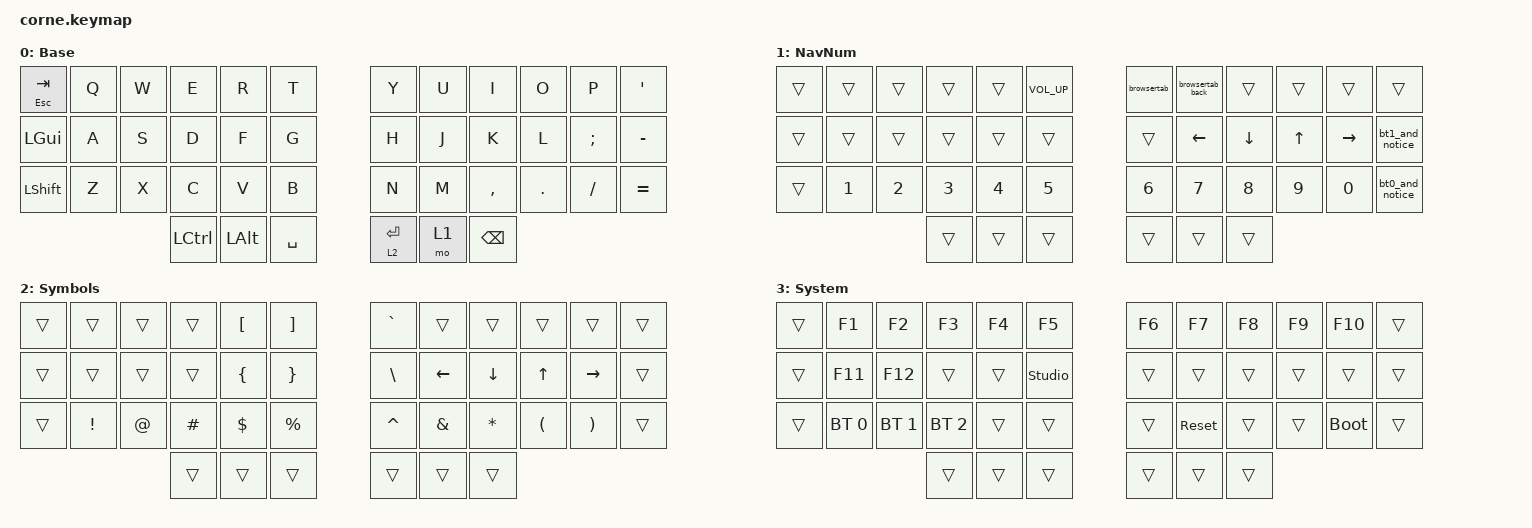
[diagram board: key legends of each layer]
#include <behaviors.dtsi>
#include <dt-bindings/zmk/bt.h>
#include <dt-bindings/zmk/keys.h>

#define DEF 0
#define NAV 1
#define SYM 2
#define ADJ 3
#define EXTRA 4

/ {
    behaviors {
        hm: homerow_mods {
            compatible = "zmk,behavior-hold-tap";
            label = "HOMEROW_MODS";
            #binding-cells = <2>;
            tapping-term-ms = <200>;
            quick_tap_ms = <0>;
            flavor = "tap-preferred";
            bindings = <&kp>, <&kp>;

            quick-tap-ms = <180>;
            global-quick-tap;
        };

        para: para {
            compatible = "zmk,behavior-tap-dance";
            label = "PARA";
            #binding-cells = <0>;
            bindings = <&kp LEFT_PARENTHESIS>, <&kp RIGHT_PARENTHESIS>;
        };

        caps: caps {
            compatible = "zmk,behavior-caps-word";
            label = "CAPS";
            #binding-cells = <0>;
            continue-list = <MINUS BACKSPACE>;
        };

        paraless: paraless {
            compatible = "zmk,behavior-mod-morph";
            label = "PARALESS";
            bindings = <&kp LEFT_PARENTHESIS>, <&kp LESS_THAN>;

            #binding-cells = <0>;
            mods = <(MOD_LSFT)>;
        };

        paragreat: paragreat {
            compatible = "zmk,behavior-mod-morph";
            label = "PARAGREAT";
            bindings = <&kp RIGHT_PARENTHESIS>, <&kp GREATER_THAN>;

            #binding-cells = <0>;
            mods = <(MOD_LSFT)>;
        };
    };

    macros {
        browsertab: browsertab {
            compatible = "zmk,behavior-macro";
            #binding-cells = <0>;
            bindings =
                <&macro_press>,
                <&kp LCTRL>,
                <&macro_tap>,
                <&kp TAB>,
                <&macro_release>,
                <&kp LCTRL>;
        };

        browsertab_back: browsertab_back {
            compatible = "zmk,behavior-macro";
            #binding-cells = <0>;
            bindings =
                <&macro_press>,
                <&kp LS(LCTRL)>,
                <&macro_tap>,
                <&kp TAB>,
                <&macro_release>,
                <&kp LS(LCTRL)>;
        };

        bt0_and_notice: bt0_and_notice {
            compatible = "zmk,behavior-macro";
            #binding-cells = <0>;
            bindings =
                <&bt BT_SEL 0>,
                <&macro_wait_time 500>,
                <&macro_tap_time 40>,
                <&kp F20>;
        };

        bt1_and_notice: bt1_and_notice {
            compatible = "zmk,behavior-macro";
            #binding-cells = <0>;
            bindings =
                <&bt BT_SEL 1>,
                <&macro_wait_time 500>,
                <&macro_tap_time 40>,
                <&kp F20>;
        };
    };

    combos {
        compatible = "zmk,combos";

        reset_left {
            bindings = <&sys_reset>;
            key-positions = <5 17 29>;
        };

        reset_right {
            bindings = <&sys_reset>;
            key-positions = <30 18 6>;
        };
    };

    //

    keymap {
        compatible = "zmk,keymap";

        DEF {
            display-name = "Base";

            // -----------------------------------------------------------------------------------------
            // |  Q  |  W  |  E  |  R  |  T  |   |  Y  |  U   |  I  |  O  |  P  |
            // |  A  |  S  |  D  |  F  |  G  |   |  H  |  J   |  K  |  L  |  ;  |
            // |  Z  |  X  |  C  |  V  |  B  |   |  N  |  M   |  ,  |  .  |  /  |
            // | GUI | CTRL | SHFT | LWR | SPC |   | ENT | RSE  | BKSP | ALT | ESC |

            bindings = <
&mt ESCAPE TAB  &kp Q  &kp W  &kp E      &kp R         &kp T        &kp Y         &kp U  &kp I          &kp O    &kp P     &kp SINGLE_QUOTE
&kp LGUI        &kp A  &kp S  &kp D      &kp F         &kp G        &kp H         &kp J  &kp K          &kp L    &kp SEMI  &kp MINUS
&kp LSHIFT      &kp Z  &kp X  &kp C      &kp V         &kp B        &kp N         &kp M  &kp COMMA      &kp DOT  &kp FSLH  &kp EQUAL
                              &kp LCTRL  &kp LEFT_ALT  &kp SPACE    &lt 2 RETURN  &mo 1  &kp BACKSPACE
            >;
        };

        NAV {
            display-name = "NavNum";

            // -----------------------------------------------------------------------------------------
            // |  TAB |  1  |  2  |  3  |  4  |  5  |   |  6  |  7  |  8  |  9  |  0  | BKSP |
            // | BTCLR| BT1 | BT2 | BT3 | BT4 | BT5 |   | LFT | DWN |  UP | RGT |     |      |
            // | SHFT |     |     |     |     |     |   |     |     |     |     |     |      |
            // | GUI | CTRL | SHFT | LWR | SPC |   | ENT | RSE  | BKSP | ALT | ESC |

            bindings = <
&trans  &trans        &trans        &trans        &trans        &kp K_VOLUME_UP    &browsertab   &browsertab_back  &trans          &trans        &trans           &trans
&trans  &trans        &trans        &trans        &trans        &trans             &trans        &kp LEFT_ARROW    &kp DOWN_ARROW  &kp UP_ARROW  &kp RIGHT_ARROW  &bt1_and_notice
&trans  &kp NUMBER_1  &kp NUMBER_2  &kp NUMBER_3  &kp NUMBER_4  &kp NUMBER_5       &kp NUMBER_6  &kp NUMBER_7      &kp NUMBER_8    &kp NUMBER_9  &kp NUMBER_0     &bt0_and_notice
                                    &trans        &trans        &trans             &trans        &trans            &trans
            >;
        };

        SYM {
            display-name = "Symbols";

            // -----------------------------------------------------------------------------------------
            // |  TAB |  !  |  @  |  #  |  $  |  %  |   |  ^  |  &  |  *  |  (  |  )  | BKSP |
            // | CTRL |     |     |     |     |     |   |  -  |  =  |  [  |  ]  |  \  |  `   |
            // | SHFT |     |     |     |     |     |   |  _  |  +  |  {  |  }  | "|" |  ~   |
            //                    | GUI |     | SPC |   | ENT |     | ALT |

            bindings = <
&trans  &trans    &trans  &trans    &kp LEFT_BRACKET  &kp RIGHT_BRACKET    &kp GRAVE      &trans          &trans          &trans                &trans                 &trans
&trans  &trans    &trans  &trans    &kp LEFT_BRACE    &kp RIGHT_BRACE      &kp BACKSLASH  &kp LEFT_ARROW  &kp DOWN_ARROW  &kp UP_ARROW          &kp RIGHT_ARROW        &trans
&trans  &kp EXCL  &kp AT  &kp HASH  &kp DOLLAR        &kp PERCENT          &kp CARET      &kp AMPERSAND   &kp STAR        &kp LEFT_PARENTHESIS  &kp RIGHT_PARENTHESIS  &trans
                          &trans    &trans            &trans               &trans         &trans          &trans
            >;
        };

        BT {
            display-name = "System";
            bindings = <
&trans  &kp F1        &kp F2        &kp F3        &kp F4  &kp F5            &kp F6  &kp F7      &kp F8  &kp F9  &kp F10      &trans
&trans  &kp F11       &kp F12       &trans        &trans  &studio_unlock    &trans  &trans      &trans  &trans  &trans       &trans
&trans  &bt BT_SEL 0  &bt BT_SEL 1  &bt BT_SEL 2  &trans  &trans            &trans  &sys_reset  &trans  &trans  &bootloader  &trans
                                    &trans        &trans  &trans            &trans  &trans      &trans
            >;
        };
    };

    conditional_layers {
        compatible = "zmk,conditional-layers";

        l3 {
            if-layers = <1 2>;
            then-layer = <3>;
        };
    };
};
